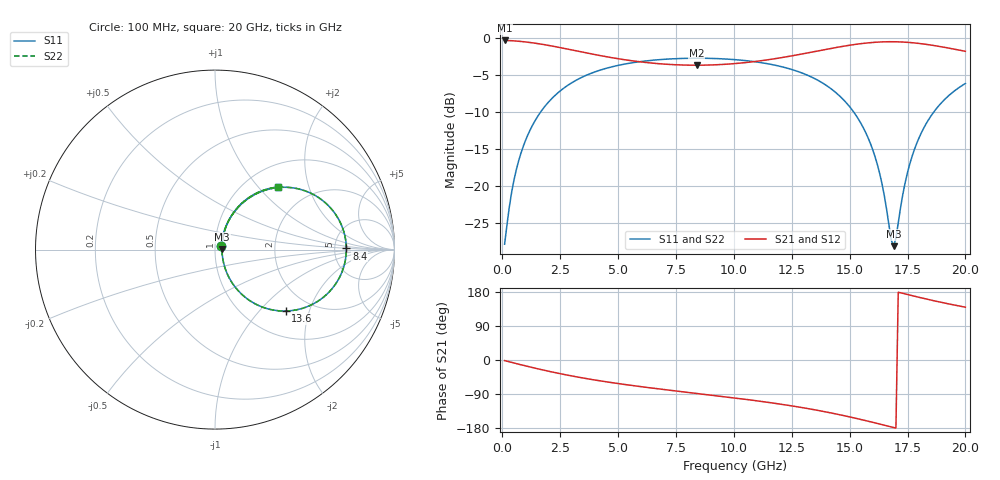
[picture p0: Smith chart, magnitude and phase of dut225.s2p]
! Touchstone file exported from HFSS 2026.1.0
!  File:  C:/ffzhzh/LocalFiles/Ansys_Project_Files/temp_train_TSV_RDL_225_1783063844_17544.aedt
!  Generated:  03:44:54 PM Jul  3, 2026
!  Design:  TSV_RDL
!  Project:  temp_train_TSV_RDL_225_1783063844_17544
! Variables:
!  h_bsmrdl = 5.2um
!  h_ox = 20um
!  h_rdl = 5um
!  h_sub = 82.3um
!  h_tmrdl = 2.32um
!  h_tsv = 82.3um
!  h_via = 3um
!  l_bsmrdl = 516.15um
!  l_sub = 3522.39um
!  l_tmrdl = 375.89um
!  m_sub = 200um
!  pitch = 60um
!  r_tsv = 3.01um
!  s_tmrdl = 10um
!  w_bsmrdl = 11.4um
!  w_sub = 500um
!  w_tmrdl = 12.06um
!  x_tsv_center1 = 381.92um
!  x_tsv_center2 = 909.47um
!  x_tsv_center3 = 1297.42um
!  x_tsv_center4 = 1824.97um
!  x_tsv_center5 = 2212.92um
!  x_tsv_center6 = 2740.47um
# GHz S MA R 50.000000
! Terminal data exported
! Port[1] = TM_RDL1_1_T1
! Port[2] = TM_RDL5_1_T1
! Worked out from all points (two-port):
!   200 points, 100 MHz to 20 GHz, reference 50 ohm
!   highest |S21| = -0.31 dB at 100 MHz (marker M1); lowest = -3.7 dB at 8.4 GHz (marker M2)
!   |S21| within 3 dB of the highest: start of sweep to 6.254 GHz; 10.5 GHz to end of sweep
!   lowest |S11| = -28.2 dB at 16.9 GHz (marker M3), VSWR 1.08, Z = 54.1 + j0.2 ohm
!   |S11| at or under -10 dB: start of sweep to 1.656 GHz; 15.18 GHz to 18.64 GHz (3.46 GHz wide, 20.5 % of centre)
!   |S22| runs from -28.3 to -2.7 dB; largest |S21 - S12| = 2.8e-14
!   S11 on the Smith chart (normalised r, x): 100 MHz: 1.07, +0.04; 8.4 GHz: 6.45, +0.17; 13.6 GHz: 1.50, -1.41; 20 GHz: 1.39, +1.28
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0.1  0.04026 29.6  0.9653 -1.6  0.9653 -1.6  0.04026 29.6
! Gamma 0 0 0 0
! Port Impedance 50 0 50 0
0.5  0.1086 63.0  0.9592 -7.9  0.9592 -7.9  0.1086 63.0
0.8  0.1654 64.9  0.9507 -12.5  0.9507 -12.5  0.1654 64.9
1.2  0.2386 62.8  0.9352 -18.4  0.9352 -18.4  0.2386 62.8
2.2  0.3989 52.6  0.8818 -32.3  0.8818 -32.3  0.3989 52.6
3.5  0.5494 38.9  0.8025 -47.7  0.8025 -47.7  0.5494 38.9
5.1  0.6593 24.5  0.7219 -63.0  0.7219 -63.0  0.6593 24.5
6.8  0.716 11.6  0.6711 -76.6  0.6711 -76.6  0.716 11.6
8.4  0.7319 0.5  0.6562 -88.2  0.6562 -88.2  0.7319 0.5
10.1  0.7147 -11.3  0.6742 -100.7  0.6742 -100.7  0.7147 -11.4
11.8  0.6553 -24.4  0.7272 -114.6  0.7272 -114.6  0.6553 -24.4
13.4  0.5413 -39.0  0.8068 -130.4  0.8068 -130.4  0.5413 -39.0
13.6  0.5217 -41.0  0.8181 -132.6  0.8181 -132.6  0.5217 -41.0
14.8  0.3736 -53.6  0.8859 -147.4  0.8859 -147.4  0.3736 -53.7
15.7  0.2286 -62.0  0.9265 -160.0  0.9265 -160.0  0.2285 -62.1
16.3  0.121 -61.7  0.9424 -169.0  0.9424 -169.0  0.1208 -61.9
16.7  0.05406 -40.3  0.9464 -175.1  0.9464 -175.1  0.0538 -40.5
16.9  0.03903 2.7  0.9463 -178.1  0.9463 -178.1  0.03867 2.7
17.5  0.1231 63.3  0.9376 172.8  0.9376 172.8  0.123 63.4
18  0.2117 64.0  0.9216 165.4  0.9216 165.4  0.2117 64.1
18.8  0.3412 57.2  0.8838 154.2  0.8838 154.2  0.3412 57.3
20  0.4933 44.9  0.815 139.4  0.815 139.4  0.4932 44.9
